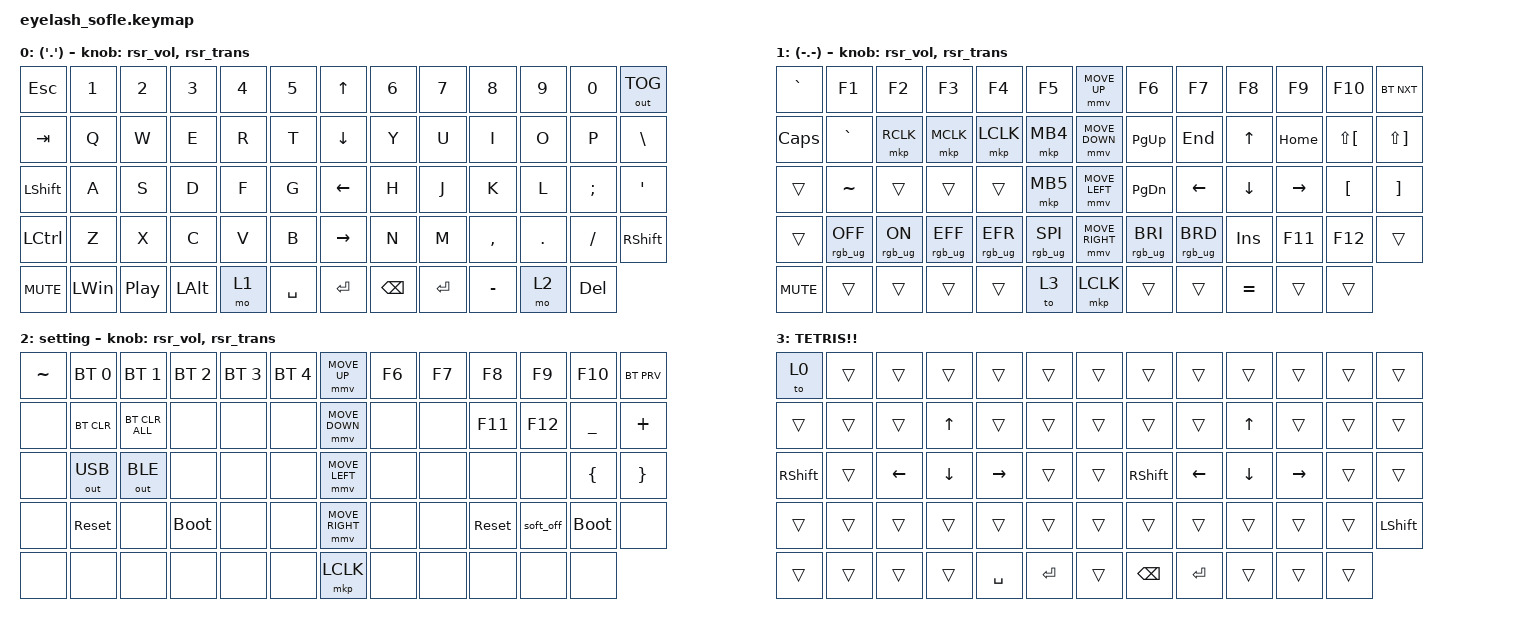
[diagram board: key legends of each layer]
#include <input/processors.dtsi>
#include <zephyr/dt-bindings/input/input-event-codes.h>
#include <behaviors/runtime-sensor-rotate.dtsi>
#include <behaviors.dtsi>
#include <dt-bindings/zmk/bt.h>
#include <dt-bindings/zmk/keys.h>
#include <dt-bindings/zmk/outputs.h>
#include <dt-bindings/zmk/pointing.h>
#include <dt-bindings/zmk/rgb.h>

/ {
    zip_scroll_scaler: zip_scroll_scaler {
        compatible = "zmk,input-processor-scaler";
        #input-processor-cells = <2>;
        type = <INPUT_EV_REL>;
        codes = <INPUT_REL_WHEEL INPUT_REL_HWHEEL>;
        track-remainders;
    };
};

&mmv_input_listener { input-processors = <&zip_xy_scaler 2 1>; };

&msc_input_listener { input-processors = <&zip_scroll_scaler 2 1>; };

&msc {
    acceleration-exponent = <0>;      // 0
    time-to-max-speed-ms = <0>;       // 300
    delay-ms = <0>;                   // 0
};

&mmv {
    time-to-max-speed-ms = <400>;
    acceleration-exponent = <1>;
};

&soft_off { hold-time-ms = <2000>; };

/ {
    behaviors {
        rsr_vol: rsr_vol {
            compatible = "zmk,behavior-runtime-sensor-rotate";
            #sensor-binding-cells = <0>;
            tap-ms = <5>;
            cw-binding = <&kp C_VOL_UP>;
            ccw-binding = <&kp C_VOL_DN>;
        };

        rsr_trans: rsr_trans {
            compatible = "zmk,behavior-runtime-sensor-rotate";
            #sensor-binding-cells = <0>;
            tap-ms = <0>;
        };
    };

    macros {
        shift_MB3: shift_MB3 {
            compatible = "zmk,behavior-macro";
            #binding-cells = <0>;
            bindings =
                <&macro_press>,
                <&kp LEFT_SHIFT>,
                <&macro_press>,
                <&mkp MB3>,
                <&macro_pause_for_release>,
                <&macro_release>,
                <&mkp MB3 &kp LEFT_SHIFT>;

            label = "SHIFT_MB3";
        };
    };

    combos {
        compatible = "zmk,combos";

        hangle_w {
            bindings = <&kp LANG1>;
            key-positions = <35 34>;
        };

        hangle_m {
            bindings = <&kp LC(SPACE)>;
            key-positions = <35 36>;
        };
    };

    keymap {
        compatible = "zmk,keymap";

        ff {
            bindings = <
&kp ESC         &kp N1        &kp N2            &kp N3        &kp N4  &kp N5       &kp UP_ARROW     &kp N6         &kp N7     &kp N8     &kp N9   &kp N0      &out OUT_TOG
&kp TAB         &kp Q         &kp W             &kp E         &kp R   &kp T        &kp DOWN_ARROW   &kp Y          &kp U      &kp I      &kp O    &kp P       &kp BSLH
&kp LEFT_SHIFT  &kp A         &kp S             &kp D         &kp F   &kp G        &kp LEFT_ARROW   &kp H          &kp J      &kp K      &kp L    &kp SEMI    &kp APOS
&kp LCTRL       &kp Z         &kp X             &kp C         &kp V   &kp B        &kp RIGHT_ARROW  &kp N          &kp M      &kp COMMA  &kp DOT  &kp FSLH    &kp RIGHT_SHIFT
&kp C_MUTE      &kp LEFT_WIN  &kp C_PLAY_PAUSE  &kp LEFT_ALT  &mo 1   &kp SPACE    &kp ENTER        &kp BACKSPACE  &kp ENTER  &kp MINUS  &mo 2    &kp DELETE
            >;

            sensor-bindings = <&rsr_vol &rsr_trans>;
            label = "('.')";
            display-name = "('.')";
        };

        a {
            bindings = <
&kp GRAVE     &kp F1           &kp F2          &kp F3           &kp F4           &kp F5             &mmv MOVE_UP     &kp F6           &kp F7           &kp F8      &kp F9     &kp F10               &bt BT_NXT
&kp CAPSLOCK  &kp GRAVE        &mkp RCLK       &mkp MCLK        &mkp LCLK        &mkp MB4           &mmv MOVE_DOWN   &kp PG_UP        &kp END          &kp UP      &kp HOME   &kp LS(LEFT_BRACKET)  &kp LS(RIGHT_BRACKET)
&trans        &kp TILDE        &trans          &trans           &trans           &mkp MB5           &mmv MOVE_LEFT   &kp PG_DN        &kp LEFT         &kp DOWN    &kp RIGHT  &kp LEFT_BRACKET      &kp RIGHT_BRACKET
&trans        &rgb_ug RGB_OFF  &rgb_ug RGB_ON  &rgb_ug RGB_EFF  &rgb_ug RGB_EFR  &rgb_ug RGB_SPI    &mmv MOVE_RIGHT  &rgb_ug RGB_BRI  &rgb_ug RGB_BRD  &kp INSERT  &kp F11    &kp F12               &trans
&kp C_MUTE    &trans           &trans          &trans           &trans           &to 3              &mkp LCLK        &trans           &trans           &kp EQUAL   &trans     &trans
            >;

            sensor-bindings = <&rsr_vol &rsr_trans>;
            label = "(-.-)";
            display-name = "(-.-)";
        };

        setting {
            bindings = <
&kp TILDE  &bt BT_SEL 0  &bt BT_SEL 1    &bt BT_SEL 2  &bt BT_SEL 3  &bt BT_SEL 4    &mmv MOVE_UP     &kp F6  &kp F7  &kp F8      &kp F9     &kp F10      &bt BT_PRV
&none      &bt BT_CLR    &bt BT_CLR_ALL  &none         &none         &none           &mmv MOVE_DOWN   &none   &none   &kp F11     &kp F12    &kp UNDER    &kp PLUS
&none      &out OUT_USB  &out OUT_BLE    &none         &none         &none           &mmv MOVE_LEFT   &none   &none   &none       &none      &kp LBRC     &kp RBRC
&none      &sys_reset    &none           &bootloader   &none         &none           &mmv MOVE_RIGHT  &none   &none   &sys_reset  &soft_off  &bootloader  &none
&none      &none         &none           &none         &none         &none           &mkp LCLK        &none   &none   &none       &none      &none
            >;

            sensor-bindings = <&rsr_vol &rsr_trans>;
            label = "setting";
        };

        TETRIS {
            bindings = <
&to 0      &trans  &trans    &trans    &trans     &trans     &trans  &trans     &trans    &trans    &trans     &trans  &trans
&trans     &trans  &trans    &kp UP    &trans     &trans     &trans  &trans     &trans    &kp UP    &trans     &trans  &trans
&kp RSHFT  &trans  &kp LEFT  &kp DOWN  &kp RIGHT  &trans     &trans  &kp RSHFT  &kp LEFT  &kp DOWN  &kp RIGHT  &trans  &trans
&trans     &trans  &trans    &trans    &trans     &trans     &trans  &trans     &trans    &trans    &trans     &trans  &kp LSHFT
&trans     &trans  &trans    &trans    &kp SPACE  &kp RET    &trans  &kp BSPC   &kp RET   &trans    &trans     &trans
            >;

            label = "TETRIS!!";
        };
    };
};
